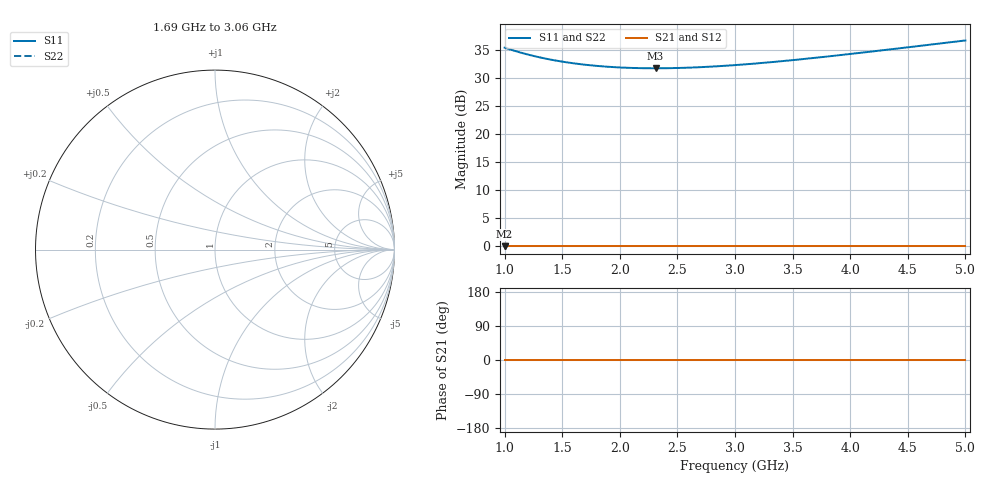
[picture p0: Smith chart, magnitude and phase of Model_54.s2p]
# GHZ S RI R 50
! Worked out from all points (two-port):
!   401 points, 1 GHz to 5 GHz, reference 50 ohm
!   highest |S21| = 0.00 dB at 1 GHz (marker M1); lowest = 0.0 dB at 1 GHz (marker M2)
!   |S21| within 3 dB of the highest: start of sweep to end of sweep
!   lowest |S11| = 31.7 dB at 2.31 GHz (marker M3)
!   |S11| at or under -10 dB: nowhere
!   |S22| runs from 31.7 to 36.6 dB; largest |S21 - S12| = 0
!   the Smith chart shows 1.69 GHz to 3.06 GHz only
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1  58.49 0  1 0  1 0  58.49 0
1.15  52.41 0  1 0  1 0  52.41 0
1.22  50.18 0  1 0  1 0  50.18 0
1.3  47.99 0  1 0  1 0  47.99 0
1.38  46.14 0  1 0  1 0  46.14 0
1.47  44.38 0  1 0  1 0  44.38 0
1.57  42.78 0  1 0  1 0  42.78 0
1.67  41.49 0  1 0  1 0  41.49 0
1.82  40.04 0  1 0  1 0  40.04 0
1.97  39.07 0  1 0  1 0  39.07 0
2.14  38.46 0  1 0  1 0  38.46 0
2.31  38.27 0  1 0  1 0  38.27 0
2.34  38.28 0  1 0  1 0  38.28 0
2.5  38.5 0  1 0  1 0  38.5 0
2.66  38.99 0  1 0  1 0  38.99 0
3  40.85 0  1 0  1 0  40.85 0
3.33  43.54 0  1 0  1 0  43.54 0
3.67  47.12 0  1 0  1 0  47.12 0
4  51.3 0  1 0  1 0  51.3 0
4.34  56.27 0  1 0  1 0  56.27 0
4.63  61.01 0  1 0  1 0  61.01 0
5  67.7 0  1 0  1 0  67.7 0
